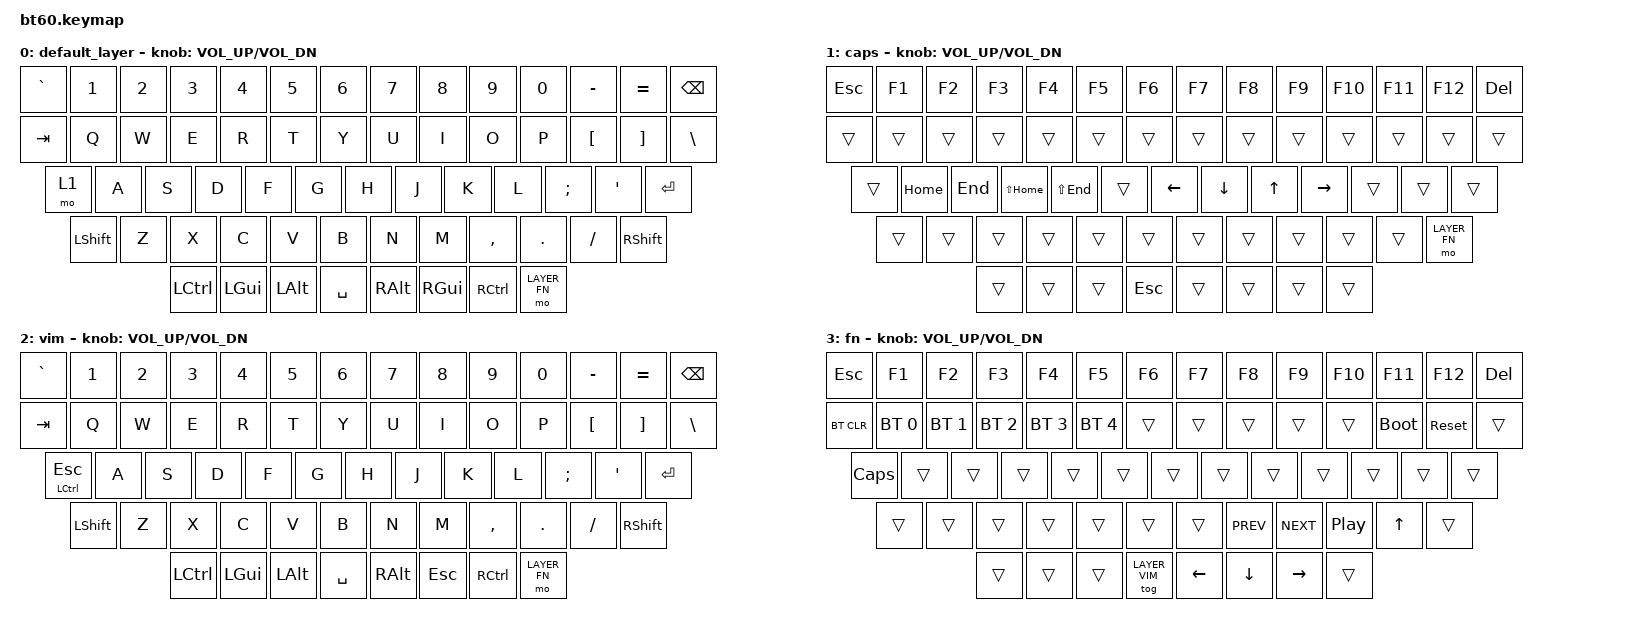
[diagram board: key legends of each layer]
#include <behaviors.dtsi>
#include <dt-bindings/zmk/keys.h>
#include <dt-bindings/zmk/bt.h>
#include <dt-bindings/zmk/rgb.h>
#include <dt-bindings/zmk/backlight.h>

#define LAYER_VIM 2
#define LAYER_FN  3

/ {
	keymap {
		compatible = "zmk,keymap";

		default_layer {
				// ------------------------------------------------------------------------------------------
				// | ESC |  1  |  2  |  3  |  4  |  5  |  6  |  7  |  8  |  9  |  0  |  -  |  =  |   BKSP
				// | TAB  |  Q  |  W  |  E  |  R  |  T  |  Y  |  U  |  I  |  O  |  P  |  [  |  ]  |   |
				// | CAPS  |  A  |  S  |  D  |  F  |  G  |  H  |  J  |  K  |  L  |  ;  |  '  |     ENTER
				// |  SHIFT    |  Z  |  X  |  C  |  V  |  B  |  N  |  M  |  ,  |  .  | /   |      SHIFT
				// |  CTL  |  WIN  |  ALT  |            SPACE               | ALT | 1    |  MENU    |  CTRL
				// ------------------------------------------------------------------------------------------
			bindings = <
				&kp GRAVE &kp N1 &kp N2 &kp N3 &kp N4 &kp N5 &kp N6 &kp N7 &kp N8 &kp N9 &kp N0 &kp MINUS &kp EQUAL &kp BSPC
				&kp TAB &kp Q &kp W &kp E &kp R &kp T &kp Y &kp U &kp I &kp O &kp P &kp LBKT &kp RBKT &kp BSLH
				&mo 1 &kp A &kp S &kp D &kp F &kp G &kp H &kp J &kp K &kp L &kp SEMI &kp SQT &kp RET
				&kp LSHFT &kp Z &kp X &kp C &kp V &kp B &kp N &kp M &kp COMMA &kp DOT &kp FSLH &kp RSHFT
				&kp LCTRL &kp LGUI &kp LALT &kp SPACE &kp RALT &kp RIGHT_GUI &kp RIGHT_CONTROL &mo LAYER_FN
			>;
			sensor-bindings = <&inc_dec_kp C_VOL_UP C_VOL_DN>;
		};
		caps {
			bindings = <
				&kp ESC &kp F1 &kp F2 &kp F3 &kp F4 &kp F5 &kp F6 &kp F7 &kp F8 &kp F9 &kp F10 &kp F11 &kp F12 &kp DEL
				&trans &trans &trans &trans &trans &trans &trans &trans &trans &trans &trans &trans &trans &trans
				&trans &kp HOME &kp END &kp LS(HOME) &kp LS(END) &trans &kp LEFT_ARROW &kp DOWN_ARROW &kp UP_ARROW &kp RIGHT_ARROW &trans &trans &trans
				&trans &trans &trans &trans &trans &trans &trans &trans &trans &trans &trans &mo LAYER_FN
				&trans &trans &trans &kp ESC &trans &trans &trans &trans
			>;
			sensor-bindings = <&inc_dec_kp C_VOL_UP C_VOL_DN>;
		};
		vim {
			bindings = <
				&kp GRAVE &kp N1 &kp N2 &kp N3 &kp N4 &kp N5 &kp N6 &kp N7 &kp N8 &kp N9 &kp N0 &kp MINUS &kp EQUAL &kp BSPC
				&kp TAB &kp Q &kp W &kp E &kp R &kp T &kp Y &kp U &kp I &kp O &kp P &kp LBKT &kp RBKT &kp BSLH
				&mt LCTRL ESC &kp A &kp S &kp D &kp F &kp G &kp H &kp J &kp K &kp L &kp SEMI &kp SQT &kp RET
				&kp LSHFT &kp Z &kp X &kp C &kp V &kp B &kp N &kp M &kp COMMA &kp DOT &kp FSLH &kp RSHFT
				&kp LCTRL &kp LGUI &kp LALT &kp SPACE &kp RALT &kp ESC &kp RIGHT_CONTROL &mo LAYER_FN
			>;
			sensor-bindings = <&inc_dec_kp C_VOL_UP C_VOL_DN>;
		};
		fn {
			bindings = <
				&kp ESC &kp F1 &kp F2 &kp F3 &kp F4 &kp F5 &kp F6 &kp F7 &kp F8 &kp F9 &kp F10 &kp F11 &kp F12 &kp DEL
				&bt BT_CLR &bt BT_SEL 0 &bt BT_SEL 1 &bt BT_SEL 2 &bt BT_SEL 3 &bt BT_SEL 4 &trans &trans &trans &trans &trans &bootloader &sys_reset &trans
				&kp CAPSLOCK &trans &trans &trans &trans &trans &trans &trans &trans &trans &trans &trans &trans
				&trans &trans &trans &trans &trans &trans &trans &kp C_PREV &kp C_NEXT &kp C_PP &kp UP_ARROW &trans 
				&trans &trans &trans &tog LAYER_VIM &kp LEFT_ARROW &kp DOWN_ARROW &kp RIGHT_ARROW &trans
			>;
			sensor-bindings = <&inc_dec_kp C_VOL_UP C_VOL_DN>;
		};
	};
};
